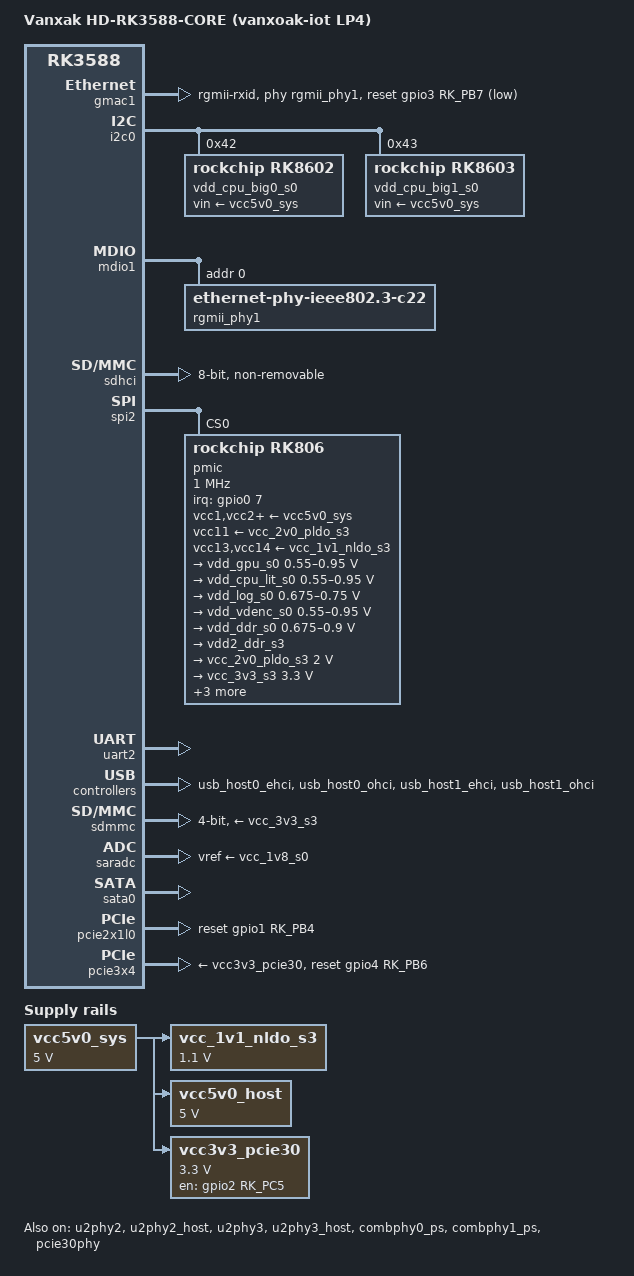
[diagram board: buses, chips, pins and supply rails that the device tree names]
// SPDX-License-Identifier: (GPL-2.0+ OR MIT)
/*
 * Vanxak HD-RK3588-CORE (vanxoak-iot LP4)
 *
 * Factory live DT identifies as rk3588-evb4-lp4-v10 with a *single* RK806 on
 * SPI2 plus RK8602/RK8603 on I2C0 for the big cores — NOT the dual-RK806 EVB1
 * layout. Using EVB1 dual-PMIC caused SoftReset while adjusting rails:
 *   vdd_vdenc_mem_s0: Bringing 3275000uV into 950000uV
 *
 * Power / PMIC section follows mainline rk3588-rock-5b.dts (same topology).
 * Console: UART2 M0 @ 115200 (ttyS2).
 * Ethernet: GMAC1. Also enables USB2, SDMMC, SARADC, SATA0, PCIe2/3.
 * HDMI/GPU/USB3: not in linux-yocto 6.6 DT — needs newer/vendor kernel.
 */

/dts-v1/;

#include <dt-bindings/gpio/gpio.h>
#include <dt-bindings/interrupt-controller/irq.h>
#include <dt-bindings/pinctrl/rockchip.h>
#include "rk3588.dtsi"

/ {
	model = "Vanxak HD-RK3588-CORE (vanxoak-iot LP4)";
	compatible = "vanxak,hd-rk3588-core", "rockchip,rk3588-evb4-lp4-v10", "rockchip,rk3588";

	aliases {
		/* Board RJ45 is on GMAC1 (fe1c0000), matching factory/Ubuntu */
		ethernet0 = &gmac1;
		mmc0 = &sdhci;
		mmc1 = &sdmmc;
		serial2 = &uart2;
	};

	chosen {
		stdout-path = "serial2:115200n8";
	};

	vcc5v0_sys: vcc5v0-sys-regulator {
		compatible = "regulator-fixed";
		regulator-name = "vcc5v0_sys";
		regulator-always-on;
		regulator-boot-on;
		regulator-min-microvolt = <5000000>;
		regulator-max-microvolt = <5000000>;
	};

	/* Input for RK806 NLDO pack — same as Rock 5B / factory fixed regulator */
	vcc_1v1_nldo_s3: vcc-1v1-nldo-s3-regulator {
		compatible = "regulator-fixed";
		regulator-name = "vcc_1v1_nldo_s3";
		regulator-always-on;
		regulator-boot-on;
		regulator-min-microvolt = <1100000>;
		regulator-max-microvolt = <1100000>;
		vin-supply = <&vcc5v0_sys>;
	};

	/* USB2 VBUS — factory always-on (vanxoak-iot) */
	vcc5v0_host: vcc5v0-host-regulator {
		compatible = "regulator-fixed";
		regulator-name = "vcc5v0_host";
		regulator-always-on;
		regulator-boot-on;
		regulator-min-microvolt = <5000000>;
		regulator-max-microvolt = <5000000>;
		vin-supply = <&vcc5v0_sys>;
	};

	/* PCIe3.0 slot 3V3 — factory gpio2 PC5 */
	vcc3v3_pcie30: vcc3v3-pcie30-regulator {
		compatible = "regulator-fixed";
		regulator-name = "vcc3v3_pcie30";
		regulator-min-microvolt = <3300000>;
		regulator-max-microvolt = <3300000>;
		enable-active-high;
		gpios = <&gpio2 RK_PC5 GPIO_ACTIVE_HIGH>;
		startup-delay-us = <5000>;
		vin-supply = <&vcc5v0_sys>;
	};
};

&cpu_b0 {
	cpu-supply = <&vdd_cpu_big0_s0>;
};

&cpu_b1 {
	cpu-supply = <&vdd_cpu_big0_s0>;
};

&cpu_b2 {
	cpu-supply = <&vdd_cpu_big1_s0>;
};

&cpu_b3 {
	cpu-supply = <&vdd_cpu_big1_s0>;
};

&cpu_l0 {
	cpu-supply = <&vdd_cpu_lit_s0>;
};

&cpu_l1 {
	cpu-supply = <&vdd_cpu_lit_s0>;
};

&cpu_l2 {
	cpu-supply = <&vdd_cpu_lit_s0>;
};

&cpu_l3 {
	cpu-supply = <&vdd_cpu_lit_s0>;
};

&gmac0 {
	status = "disabled";
};

/* Factory live DT + Ubuntu use fe1c0000; GMAC0 has no PHY on this board. */
&gmac1 {
	clock_in_out = "output";
	phy-handle = <&rgmii_phy1>;
	phy-mode = "rgmii-rxid";
	pinctrl-names = "default";
	pinctrl-0 = <&gmac1_miim
		     &gmac1_tx_bus2
		     &gmac1_rx_bus2
		     &gmac1_rgmii_clk
		     &gmac1_rgmii_bus>;
	tx_delay = <0x44>;
	rx_delay = <0x00>;
	/* gpio3 PB7 — factory snps,reset-gpio = <&gpio3 15 GPIO_ACTIVE_LOW> */
	snps,reset-gpio = <&gpio3 RK_PB7 GPIO_ACTIVE_LOW>;
	snps,reset-active-low;
	snps,reset-delays-us = <0 20000 100000>;
	status = "okay";
};

&i2c0 {
	pinctrl-names = "default";
	pinctrl-0 = <&i2c0m2_xfer>;
	status = "okay";

	vdd_cpu_big0_s0: regulator@42 {
		compatible = "rockchip,rk8602";
		reg = <0x42>;
		fcs,suspend-voltage-selector = <1>;
		regulator-name = "vdd_cpu_big0_s0";
		regulator-always-on;
		regulator-boot-on;
		regulator-min-microvolt = <550000>;
		regulator-max-microvolt = <1050000>;
		regulator-ramp-delay = <2300>;
		vin-supply = <&vcc5v0_sys>;

		regulator-state-mem {
			regulator-off-in-suspend;
		};
	};

	vdd_cpu_big1_s0: regulator@43 {
		compatible = "rockchip,rk8603", "rockchip,rk8602";
		reg = <0x43>;
		fcs,suspend-voltage-selector = <1>;
		regulator-name = "vdd_cpu_big1_s0";
		regulator-always-on;
		regulator-boot-on;
		regulator-min-microvolt = <550000>;
		regulator-max-microvolt = <1050000>;
		regulator-ramp-delay = <2300>;
		vin-supply = <&vcc5v0_sys>;

		regulator-state-mem {
			regulator-off-in-suspend;
		};
	};
};

&mdio1 {
	/* Factory node is phy@1 but reg=<0> (MDIO address 0). */
	rgmii_phy1: ethernet-phy@0 {
		compatible = "ethernet-phy-ieee802.3-c22";
		reg = <0x0>;
	};
};

&sdhci {
	bus-width = <8>;
	no-sdio;
	no-sd;
	non-removable;
	mmc-hs400-1_8v;
	mmc-hs400-enhanced-strobe;
	status = "okay";
};

&spi2 {
	status = "okay";
	assigned-clocks = <&cru CLK_SPI2>;
	assigned-clock-rates = <200000000>;
	pinctrl-names = "default";
	pinctrl-0 = <&spi2m2_cs0 &spi2m2_pins>;
	num-cs = <1>;

	pmic@0 {
		compatible = "rockchip,rk806";
		spi-max-frequency = <1000000>;
		reg = <0x0>;

		interrupt-parent = <&gpio0>;
		interrupts = <7 IRQ_TYPE_LEVEL_LOW>;

		pinctrl-names = "default";
		pinctrl-0 = <&pmic_pins>, <&rk806_dvs1_null>,
			    <&rk806_dvs2_null>, <&rk806_dvs3_null>;

		vcc1-supply = <&vcc5v0_sys>;
		vcc2-supply = <&vcc5v0_sys>;
		vcc3-supply = <&vcc5v0_sys>;
		vcc4-supply = <&vcc5v0_sys>;
		vcc5-supply = <&vcc5v0_sys>;
		vcc6-supply = <&vcc5v0_sys>;
		vcc7-supply = <&vcc5v0_sys>;
		vcc8-supply = <&vcc5v0_sys>;
		vcc9-supply = <&vcc5v0_sys>;
		vcc10-supply = <&vcc5v0_sys>;
		vcc11-supply = <&vcc_2v0_pldo_s3>;
		vcc12-supply = <&vcc5v0_sys>;
		vcc13-supply = <&vcc_1v1_nldo_s3>;
		vcc14-supply = <&vcc_1v1_nldo_s3>;
		vcca-supply = <&vcc5v0_sys>;

		gpio-controller;
		#gpio-cells = <2>;

		rk806_dvs1_null: dvs1-null-pins {
			pins = "gpio_pwrctrl2";
			function = "pin_fun0";
		};

		rk806_dvs2_null: dvs2-null-pins {
			pins = "gpio_pwrctrl2";
			function = "pin_fun0";
		};

		rk806_dvs3_null: dvs3-null-pins {
			pins = "gpio_pwrctrl3";
			function = "pin_fun0";
		};

		regulators {
			vdd_gpu_s0: vdd_gpu_mem_s0: dcdc-reg1 {
				regulator-boot-on;
				regulator-min-microvolt = <550000>;
				regulator-max-microvolt = <950000>;
				regulator-ramp-delay = <12500>;
				regulator-name = "vdd_gpu_s0";
				regulator-enable-ramp-delay = <400>;

				regulator-state-mem {
					regulator-off-in-suspend;
				};
			};

			vdd_cpu_lit_s0: vdd_cpu_lit_mem_s0: dcdc-reg2 {
				regulator-always-on;
				regulator-boot-on;
				regulator-min-microvolt = <550000>;
				regulator-max-microvolt = <950000>;
				regulator-ramp-delay = <12500>;
				regulator-name = "vdd_cpu_lit_s0";

				regulator-state-mem {
					regulator-off-in-suspend;
				};
			};

			vdd_log_s0: dcdc-reg3 {
				regulator-always-on;
				regulator-boot-on;
				regulator-min-microvolt = <675000>;
				regulator-max-microvolt = <750000>;
				regulator-ramp-delay = <12500>;
				regulator-name = "vdd_log_s0";

				regulator-state-mem {
					regulator-off-in-suspend;
					regulator-suspend-microvolt = <750000>;
				};
			};

			vdd_vdenc_s0: vdd_vdenc_mem_s0: dcdc-reg4 {
				regulator-always-on;
				regulator-boot-on;
				regulator-min-microvolt = <550000>;
				regulator-max-microvolt = <950000>;
				regulator-ramp-delay = <12500>;
				regulator-name = "vdd_vdenc_s0";

				regulator-state-mem {
					regulator-off-in-suspend;
				};
			};

			vdd_ddr_s0: dcdc-reg5 {
				regulator-always-on;
				regulator-boot-on;
				regulator-min-microvolt = <675000>;
				regulator-max-microvolt = <900000>;
				regulator-ramp-delay = <12500>;
				regulator-name = "vdd_ddr_s0";

				regulator-state-mem {
					regulator-off-in-suspend;
					regulator-suspend-microvolt = <850000>;
				};
			};

			vdd2_ddr_s3: dcdc-reg6 {
				regulator-always-on;
				regulator-boot-on;
				regulator-name = "vdd2_ddr_s3";

				regulator-state-mem {
					regulator-on-in-suspend;
				};
			};

			vcc_2v0_pldo_s3: dcdc-reg7 {
				regulator-always-on;
				regulator-boot-on;
				regulator-min-microvolt = <2000000>;
				regulator-max-microvolt = <2000000>;
				regulator-ramp-delay = <12500>;
				regulator-name = "vdd_2v0_pldo_s3";

				regulator-state-mem {
					regulator-on-in-suspend;
					regulator-suspend-microvolt = <2000000>;
				};
			};

			vcc_3v3_s3: dcdc-reg8 {
				regulator-always-on;
				regulator-boot-on;
				regulator-min-microvolt = <3300000>;
				regulator-max-microvolt = <3300000>;
				regulator-name = "vcc_3v3_s3";

				regulator-state-mem {
					regulator-on-in-suspend;
					regulator-suspend-microvolt = <3300000>;
				};
			};

			vddq_ddr_s0: dcdc-reg9 {
				regulator-always-on;
				regulator-boot-on;
				regulator-name = "vddq_ddr_s0";

				regulator-state-mem {
					regulator-off-in-suspend;
				};
			};

			vcc_1v8_s3: dcdc-reg10 {
				regulator-always-on;
				regulator-boot-on;
				regulator-min-microvolt = <1800000>;
				regulator-max-microvolt = <1800000>;
				regulator-name = "vcc_1v8_s3";

				regulator-state-mem {
					regulator-on-in-suspend;
					regulator-suspend-microvolt = <1800000>;
				};
			};

			avcc_1v8_s0: pldo-reg1 {
				regulator-always-on;
				regulator-boot-on;
				regulator-min-microvolt = <1800000>;
				regulator-max-microvolt = <1800000>;
				regulator-name = "avcc_1v8_s0";

				regulator-state-mem {
					regulator-off-in-suspend;
				};
			};

			vcc_1v8_s0: pldo-reg2 {
				regulator-always-on;
				regulator-boot-on;
				regulator-min-microvolt = <1800000>;
				regulator-max-microvolt = <1800000>;
				regulator-name = "vcc_1v8_s0";

				regulator-state-mem {
					regulator-off-in-suspend;
					regulator-suspend-microvolt = <1800000>;
				};
			};

			avdd_1v2_s0: pldo-reg3 {
				regulator-always-on;
				regulator-boot-on;
				regulator-min-microvolt = <1200000>;
				regulator-max-microvolt = <1200000>;
				regulator-name = "avdd_1v2_s0";

				regulator-state-mem {
					regulator-off-in-suspend;
				};
			};

			vcc_3v3_s0: pldo-reg4 {
				regulator-always-on;
				regulator-boot-on;
				regulator-min-microvolt = <3300000>;
				regulator-max-microvolt = <3300000>;
				regulator-ramp-delay = <12500>;
				regulator-name = "vcc_3v3_s0";

				regulator-state-mem {
					regulator-off-in-suspend;
				};
			};

			vccio_sd_s0: pldo-reg5 {
				regulator-always-on;
				regulator-boot-on;
				regulator-min-microvolt = <1800000>;
				regulator-max-microvolt = <3300000>;
				regulator-ramp-delay = <12500>;
				regulator-name = "vccio_sd_s0";

				regulator-state-mem {
					regulator-off-in-suspend;
				};
			};

			pldo6_s3: pldo-reg6 {
				regulator-always-on;
				regulator-boot-on;
				regulator-min-microvolt = <1800000>;
				regulator-max-microvolt = <1800000>;
				regulator-name = "pldo6_s3";

				regulator-state-mem {
					regulator-on-in-suspend;
					regulator-suspend-microvolt = <1800000>;
				};
			};

			vdd_0v75_s3: nldo-reg1 {
				regulator-always-on;
				regulator-boot-on;
				regulator-min-microvolt = <750000>;
				regulator-max-microvolt = <750000>;
				regulator-name = "vdd_0v75_s3";

				regulator-state-mem {
					regulator-on-in-suspend;
					regulator-suspend-microvolt = <750000>;
				};
			};

			vdd_ddr_pll_s0: nldo-reg2 {
				regulator-always-on;
				regulator-boot-on;
				regulator-min-microvolt = <850000>;
				regulator-max-microvolt = <850000>;
				regulator-name = "vdd_ddr_pll_s0";

				regulator-state-mem {
					regulator-off-in-suspend;
					regulator-suspend-microvolt = <850000>;
				};
			};

			avdd_0v75_s0: nldo-reg3 {
				regulator-always-on;
				regulator-boot-on;
				regulator-min-microvolt = <750000>;
				regulator-max-microvolt = <750000>;
				regulator-name = "avdd_0v75_s0";

				regulator-state-mem {
					regulator-off-in-suspend;
				};
			};

			vdd_0v85_s0: nldo-reg4 {
				regulator-always-on;
				regulator-boot-on;
				regulator-min-microvolt = <850000>;
				regulator-max-microvolt = <850000>;
				regulator-name = "vdd_0v85_s0";

				regulator-state-mem {
					regulator-off-in-suspend;
				};
			};

			vdd_0v75_s0: nldo-reg5 {
				regulator-always-on;
				regulator-boot-on;
				regulator-min-microvolt = <750000>;
				regulator-max-microvolt = <750000>;
				regulator-name = "vdd_0v75_s0";

				regulator-state-mem {
					regulator-off-in-suspend;
				};
			};
		};
	};
};

&uart2 {
	pinctrl-0 = <&uart2m0_xfer>;
	status = "okay";
};

/* ========== USB2 host (linux-yocto 6.6: no USB3/xhci nodes yet) ========== */
&u2phy2 {
	status = "okay";
};

&u2phy2_host {
	phy-supply = <&vcc5v0_host>;
	status = "okay";
};

&u2phy3 {
	status = "okay";
};

&u2phy3_host {
	phy-supply = <&vcc5v0_host>;
	status = "okay";
};

&usb_host0_ehci {
	status = "okay";
};

&usb_host0_ohci {
	status = "okay";
};

&usb_host1_ehci {
	status = "okay";
};

&usb_host1_ohci {
	status = "okay";
};

/* ========== SD card (factory mmc@fe2c0000) ========== */
&sdmmc {
	max-frequency = <200000000>;
	no-sdio;
	no-mmc;
	bus-width = <4>;
	cap-mmc-highspeed;
	cap-sd-highspeed;
	disable-wp;
	sd-uhs-sdr104;
	vmmc-supply = <&vcc_3v3_s3>;
	vqmmc-supply = <&vccio_sd_s0>;
	status = "okay";
};

/* ========== SARADC ========== */
&saradc {
	vref-supply = <&vcc_1v8_s0>;
	status = "okay";
};

/* ========== CombPHY / SATA0 / PCIe (factory okay) ========== */
&combphy0_ps {
	status = "okay";
};

&combphy1_ps {
	status = "okay";
};

&sata0 {
	status = "okay";
};

&pcie2x1l0 {
	reset-gpios = <&gpio1 RK_PB4 GPIO_ACTIVE_HIGH>;
	status = "okay";
};

&pcie30phy {
	status = "okay";
};

&pcie3x4 {
	reset-gpios = <&gpio4 RK_PB6 GPIO_ACTIVE_HIGH>;
	vpcie3v3-supply = <&vcc3v3_pcie30>;
	status = "okay";
};

/*
 * HDMI / GPU / USB3 / HDMI-RX / DP / eDP:
 * Not present in linux-yocto 6.6 rk3588*.dtsi (no hdmi1/vop/gpu/usbdrd labels).
 * Factory board uses HDMI1 (hdmi@fdea0000) with enable-gpios = GPIO4_PB2.
 * Needs kernel >= ~6.10 (GPU) / ~6.13 (HDMI QP) or Rockchip vendor kernel.
 */

